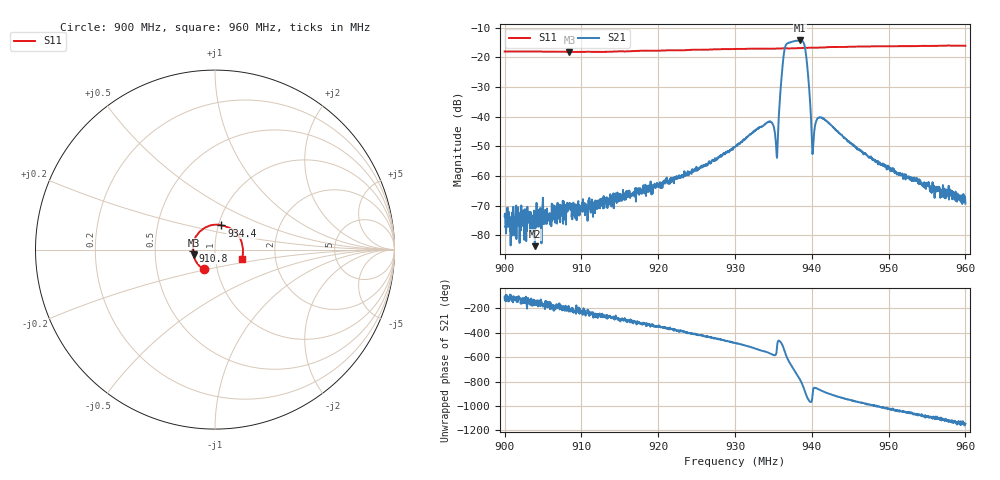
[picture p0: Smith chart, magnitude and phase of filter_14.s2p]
!Agilent Technologies,E5071C,MY46214392,A.11.36
!Date: Thu Feb 26 21:41:34 2026
!Data & Calibration Information:
!Freq	S11:NONE(--)	S21:NONE(--)	S12:NONE(--)	S22:NONE(--)
!PortZ  Port1:50+j0  Port2:50+j0
!Above PortZ is port z conversion or system Z0 setting when saving the data.
!When reading, reference impedance value at option line is always used.
# Hz S dB R 50
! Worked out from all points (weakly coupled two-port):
!   1601 points, 900 MHz to 960 MHz, reference 50 ohm
!   highest |S21| = -14.32 dB at 938.4 MHz (marker M1); lowest = -83.7 dB at 903.9 MHz (marker M2)
!   lowest |S11| = -18.2 dB at 908.4 MHz (marker M3), VSWR 1.28, Z = 39.3 - j2.43 ohm
!   |S11| at or under -10 dB: start of sweep to end of sweep
!   S12 and S22 are empty: the file has one direction only
!   S11 on the Smith chart (normalised r, x): 900 MHz: 0.86, -0.19; 910.8 MHz: 0.78, -0.01; 934.4 MHz: 1.04, +0.28; 960 MHz: 1.34, -0.14
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9e8  -18.04 -119.8  -73.62 -107.6  -200.00 0.0  -200.00 0.0
9.039375e8  -18.03 -141.5  -83.69 -148.7  -200.00 0.0  -200.00 0.0
9.084375e8  -18.20 -165.7  -69.07 149.7  -200.00 0.0  -200.00 0.0
9.100125e8  -18.19 -173.6  -71.37 135.2  -200.00 0.0  -200.00 0.0
9.108e8  -18.13 -177.6  -75.13 149.2  -200.00 0.0  -200.00 0.0
9.20025e8  -17.76 137.0  -63.02 12.2  -200.00 0.0  -200.00 0.0
9.3e8  -17.19 92.7  -50.26 -123.0  -200.00 0.0  -200.00 0.0
9.34425e8  -17.13 75.0  -41.72 154.3  -200.00 0.0  -200.00 0.0
9.354e8  -17.06 71.6  -52.23 158.0  -200.00 0.0  -200.00 0.0
9.356625e8  -17.04 70.7  -42.07 -105.4  -200.00 0.0  -200.00 0.0
9.3615e8  -16.99 68.9  -24.10 -137.8  -200.00 0.0  -200.00 0.0
9.36525e8  -16.97 67.2  -16.50 157.3  -200.00 0.0  -200.00 0.0
9.372e8  -16.99 65.0  -14.95 65.2  -200.00 0.0  -200.00 0.0
9.378375e8  -16.95 63.0  -14.47 1.4  -200.00 0.0  -200.00 0.0
9.384375e8  -16.90 60.9  -14.32 -60.9  -200.00 0.0  -200.00 0.0
9.39225e8  -16.78 58.1  -18.62 177.9  -200.00 0.0  -200.00 0.0
9.400125e8  -16.76 54.9  -47.89 125.4  -200.00 0.0  -200.00 0.0
9.40275e8  -16.76 53.9  -46.19 -132.6  -200.00 0.0  -200.00 0.0
9.40725e8  -16.74 52.5  -40.68 -138.5  -200.00 0.0  -200.00 0.0
9.414e8  -16.69 50.2  -40.61 -159.0  -200.00 0.0  -200.00 0.0
9.50025e8  -16.25 17.9  -56.82 54.7  -200.00 0.0  -200.00 0.0
9.6e8  -16.11 -19.1  -69.35 -66.4  -200.00 0.0  -200.00 0.0
